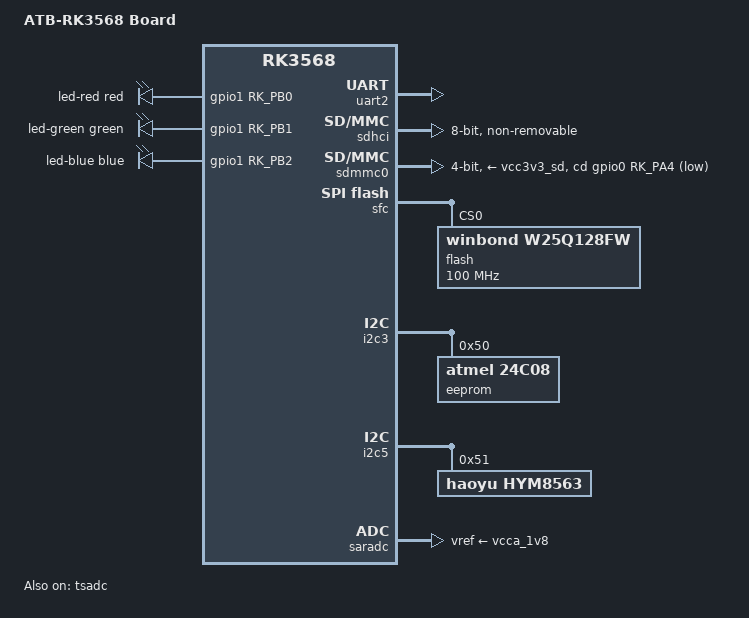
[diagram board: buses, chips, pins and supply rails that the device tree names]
/*
 * SPDX-License-Identifier:     GPL-2.0+
 *
 * (C) Copyright 2020 Rockchip Electronics Co., Ltd
 */

/dts-v1/;
#include "rk3568.dtsi"
#include <dt-bindings/gpio/gpio.h>
#include <dt-bindings/leds/common.h>
#include <dt-bindings/pinctrl/rockchip.h>

#include "atb-rk3568-mpc-m2-ethernet.dtsi"
#include "atb-rk3568-mpc-m2-usb.dtsi"
#include "atb-rk3568-mpc-m2-video.dtsi"
#include "atb-rk3568-mpc-m2-pcie.dtsi"
#include "atb-rk3568-mpc-m2-wireless.dtsi"
#include "atb-rk3568-mpc-m2-power.dtsi"

/ {
	model = "ATB-RK3568 Board";
	compatible = "rockchip,rk3568";

	aliases {
		ethernet0 = &gmac0;
		ethernet1 = &gmac1;
		mmc0 = &sdhci;
		mmc1 = &sdmmc0;
	};

	chosen: chosen {
		bootargs = "console=tty console=ttyS2,1500000n8";
		linux,stdout-path = "serial2:1500000n8";
	};

	gpio-leds {
		compatible = "gpio-leds";

		led-red {
			label = "led-red";
			gpios = <&gpio1 RK_PB0 GPIO_ACTIVE_HIGH>;
			color = <LED_COLOR_ID_RED>;
			default-state = "off";
		};

		led-green {
			label = "led-green";
			gpios = <&gpio1 RK_PB1 GPIO_ACTIVE_HIGH>;
			color = <LED_COLOR_ID_GREEN>;
			default-state = "off";
		};

		led-blue {
			label = "led-blue";
			gpios = <&gpio1 RK_PB2 GPIO_ACTIVE_HIGH>;
			color = <LED_COLOR_ID_BLUE>;
			default-state = "on";
			linux,default-trigger = "heartbeat";
		};
	};
};

&uart2 {
	status = "okay";
};

&sdhci {
	bus-width = <8>;
	max-frequency = <200000000>;
	non-removable;
	pinctrl-names = "default";
	pinctrl-0 = <&emmc_bus8 &emmc_clk &emmc_cmd &emmc_datastrobe>;
	status = "okay";
};

&sdmmc0 {
	bus-width = <4>;
	cap-sd-highspeed;
	cd-gpios = <&gpio0 RK_PA4 GPIO_ACTIVE_LOW>;
	disable-wp;
	pinctrl-names = "default";
	pinctrl-0 = <&sdmmc0_bus4 &sdmmc0_clk &sdmmc0_cmd &sdmmc0_det>;
	sd-uhs-sdr50;
	vmmc-supply = <&vcc3v3_sd>;
	vqmmc-supply = <&vccio_sd>;
	status = "okay";
};

// QSPI
&sfc {
	pinctrl-names = "default";
	pinctrl-0 = <&fspi_pins>;
	status = "okay";

	// Flash - D26
	flash@0 {
		compatible = "winbond,w25q128fw", "jedec,spi-nor";
		reg = <0>;
		spi-max-frequency = <100000000>;
	};
};

&i2c3 {
	pinctrl-0 = <&i2c3m0_xfer>;
	pinctrl-names = "default";
	status = "okay";

	// EEPROM - D28
	eeprom@50 {
		compatible = "atmel,24c08";
		reg = <0x50>;
		pagesize = <16>;
	};
};

&i2c5 {
	pinctrl-0 = <&i2c5m0_xfer>;
	pinctrl-names = "default";
	status = "okay";

	// D18
	hym8563: rtc@51 {
		compatible = "haoyu,hym8563";
		reg = <0x51>;
		#clock-cells = <0>;
		clock-output-names = "rtc_32khz";

		rtc_clock: rtc_clock {
			compatible = "fixed-clock";
			#clock-cells = <0>;
			clock-frequency = <32768>;
		};
	};
};

&saradc {
	vref-supply = <&vcca_1v8>;
	status = "okay";
};

&tsadc {
	rockchip,hw-tshut-mode = <1>;
	rockchip,hw-tshut-polarity = <0>;
	status = "okay";
};
